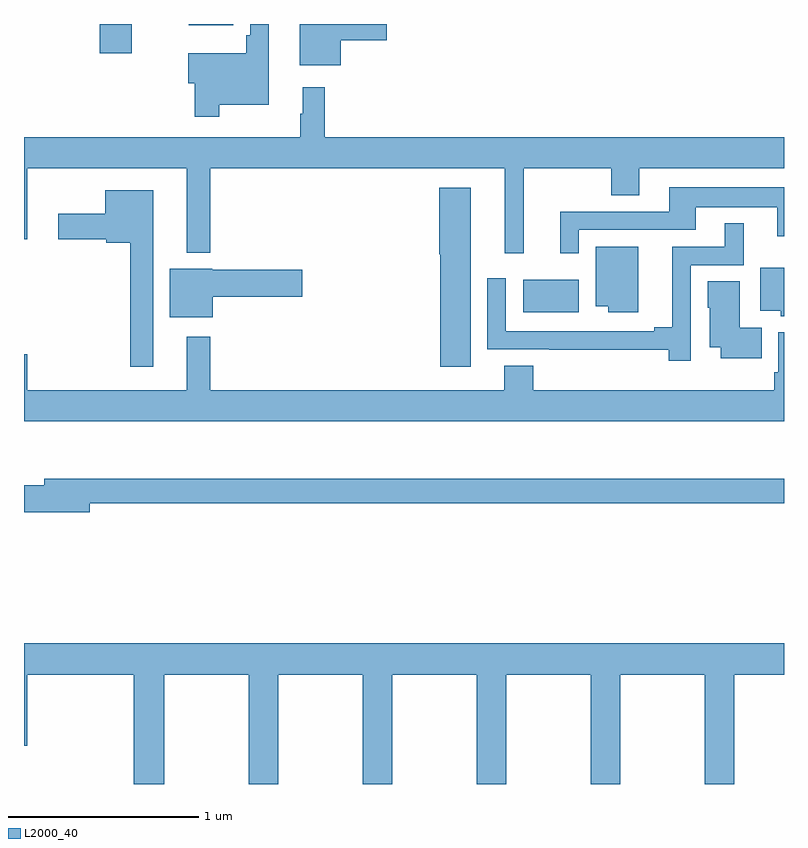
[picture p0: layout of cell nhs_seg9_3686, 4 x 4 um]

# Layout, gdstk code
import gdstk
lib = gdstk.Library(unit=1e-6, precision=1e-09)
def R(c, l, rs):  # rectangles x0, y0, x1, y1
    for r in rs: c.add(gdstk.rectangle(r[:2], r[2:], *l))
def P(c, l, *ps):  # polygons
    for p in ps: c.add(gdstk.Polygon(p, *l))
L2000_40 = (2000, 40)

nhs_seg9_3686 = lib.new_cell('nhs_seg9_3686')
R(nhs_seg9_3686, L2000_40, [(323.627,1208.984,323.92,1209.154), (321.398,1210.347,321.568,1210.5), (321.866,1210.493,322.102,1210.5)])
P(nhs_seg9_3686, L2000_40, [(322.666,1210.415),(322.909,1210.415),(322.909,1210.5),(322.451,1210.5),(322.451,1210.283),(322.666,1210.283)],
  [(322.027,1210.076),(322.288,1210.076),(322.288,1210.5),(322.191,1210.5),(322.191,1210.441),(322.171,1210.441),(322.171,1210.345),(321.864,1210.345),(321.864,1210.187),(321.898,1210.187),(321.898,1210.011),(322.027,1210.011)],
  [(323.63,1209.74),(324.091,1209.74),(324.091,1209.598),(324.238,1209.598),(324.238,1209.74),(325,1209.74),(325,1209.904),(322.583,1209.904),(322.583,1210.168),(322.466,1210.168),(322.466,1210.028),(322.455,1210.028),(322.455,1209.904),(321,1209.904),(321,1209.366),(321.016,1209.366),(321.016,1209.74),(321.857,1209.74),(321.857,1209.296),(321.979,1209.296),(321.979,1209.74),(323.531,1209.74),(323.531,1209.294),(323.63,1209.294)],
  [(323.919,1209.417),(324.535,1209.417),(324.535,1209.536),(324.965,1209.536),(324.965,1209.384),(325,1209.384),(325,1209.64),(324.395,1209.64),(324.395,1209.513),(323.822,1209.513),(323.822,1209.294),(323.919,1209.294)],
  [(323.35,1209.637),(323.186,1209.637),(323.186,1209.288),(323.192,1209.288),(323.192,1208.697),(323.35,1208.697)],
  [(321.679,1209.625),(321.428,1209.625),(321.428,1209.502),(321.18,1209.502),(321.18,1209.368),(321.432,1209.368),(321.432,1209.35),(321.558,1209.35),(321.558,1208.697),(321.679,1208.697)],
  [(324.51,1209.231),(324.787,1209.231),(324.787,1209.451),(324.689,1209.451),(324.689,1209.327),(324.413,1209.327),(324.413,1208.903),(324.317,1208.903),(324.317,1208.883),(323.535,1208.883),(323.535,1209.163),(323.439,1209.163),(323.439,1208.787),(323.764,1208.787),(323.764,1208.786),(324.394,1208.786),(324.394,1208.727),(324.51,1208.727)],
  [(324.232,1209.328),(324.008,1209.328),(324.008,1209.014),(324.074,1209.014),(324.074,1208.984),(324.232,1208.984)],
  [(325,1209.217),(324.875,1209.217),(324.875,1208.99),(324.984,1208.99),(324.984,1208.963),(325,1208.963)],
  [(321.994,1209.064),(322.465,1209.064),(322.465,1209.206),(321.99,1209.206),(321.99,1209.211),(321.767,1209.211),(321.767,1208.957),(321.994,1208.957)],
  [(324.884,1208.902),(324.766,1208.902),(324.766,1209.146),(324.599,1209.146),(324.599,1209.006),(324.608,1209.006),(324.608,1208.798),(324.668,1208.798),(324.668,1208.741),(324.884,1208.741)],
  [(325,1208.878),(324.969,1208.878),(324.969,1208.668),(324.949,1208.668),(324.949,1208.572),(323.681,1208.572),(323.681,1208.702),(323.528,1208.702),(323.528,1208.572),(321.979,1208.572),(321.979,1208.854),(321.857,1208.854),(321.857,1208.572),(321.016,1208.572),(321.016,1208.761),(321,1208.761),(321,1208.408),(325,1208.408)],
  [(321.346,1207.978),(325,1207.978),(325,1208.107),(321.107,1208.107),(321.107,1208.073),(321,1208.073),(321,1207.931),(321.346,1207.931)],
  [(321.738,1207.076),(322.183,1207.076),(322.183,1206.5),(322.338,1206.5),(322.338,1207.076),(322.783,1207.076),(322.783,1206.5),(322.938,1206.5),(322.938,1207.076),(323.383,1207.076),(323.383,1206.5),(323.538,1206.5),(323.538,1207.076),(323.983,1207.076),(323.983,1206.5),(324.138,1206.5),(324.138,1207.076),(324.583,1207.076),(324.583,1206.5),(324.738,1206.5),(324.738,1207.076),(325,1207.076),(325,1207.24),(321,1207.24),(321,1206.702),(321.016,1206.702),(321.016,1207.076),(321.578,1207.076),(321.578,1206.5),(321.738,1206.5)])

lib.write_gds('nhs_seg9_3686.gds')
